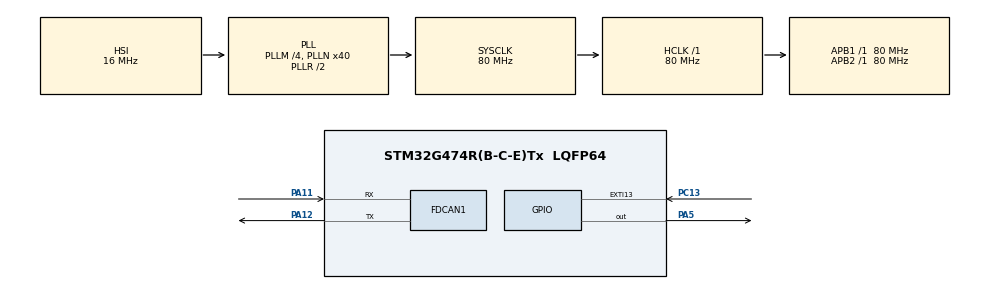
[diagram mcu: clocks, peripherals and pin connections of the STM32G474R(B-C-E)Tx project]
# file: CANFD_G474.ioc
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FDCAN1.CalculateBaudRateNominal=500000
FDCAN1.CalculateTimeBitNominal=2000
FDCAN1.CalculateTimeQuantumNominal=400.0
FDCAN1.ClockDivider=FDCAN_CLOCK_DIV2
FDCAN1.FrameFormat=FDCAN_FRAME_CLASSIC
Mcu.Family=STM32G4
Mcu.Name=STM32G474R(B-C-E)Tx
Mcu.Package=LQFP64
NUCLEO-G474RE.BUTTON=1
NUCLEO-G474RE.LD2=true
NUCLEO-G474RE.VCP=true
NVIC.EXTI15_10_IRQn=true\:0\:0\:false\:false\:true\:true\:true\:true
NVIC.FDCAN1_IT0_IRQn=true\:0\:0\:false\:false\:true\:true\:true\:true
NVIC.FDCAN1_IT1_IRQn=true\:0\:0\:false\:false\:true\:true\:true\:true
NVIC.PriorityGroup=NVIC_PRIORITYGROUP_4
PA11.Mode=FDCAN_Activate
PA11.Signal=FDCAN1_RX
PA12.Mode=FDCAN_Activate
PA12.Signal=FDCAN1_TX
PA13.GPIO_Label=T_SWDIO
PA13.Signal=SYS_JTMS-SWDIO
PA14.GPIO_Label=T_SWCLK
PA14.Signal=SYS_JTCK-SWCLK
PA2.Signal=LPUART1_TX
PA3.Signal=LPUART1_RX
PA5.Signal=GPIO_Output
PB3.GPIO_Label=T_SWO
PB3.Signal=SYS_JTDO-SWO
PC13.Signal=GPXTI13
PC14-OSC32_IN.GPIO_Label=RCC_OSC32_IN
PC14-OSC32_IN.Signal=RCC_OSC32_IN
PC15-OSC32_OUT.GPIO_Label=RCC_OSC32_OUT
PC15-OSC32_OUT.Signal=RCC_OSC32_OUT
PF0-OSC_IN.GPIO_Label=RCC_OSC_IN
PF0-OSC_IN.Signal=RCC_OSC_IN
PF1-OSC_OUT.GPIO_Label=RCC_OSC_OUT
PF1-OSC_OUT.Signal=RCC_OSC_OUT
ProjectManager.HeapSize=0x200
ProjectManager.StackSize=0x400
ProjectManager.TargetToolchain=STM32CubeIDE
RCC.ADC12Freq_Value=80000000
RCC.ADC345Freq_Value=80000000
RCC.AHBFreq_Value=80000000
RCC.APB1Freq_Value=80000000
RCC.APB1TimFreq_Value=80000000
RCC.APB2Freq_Value=80000000
RCC.APB2TimFreq_Value=80000000
RCC.CortexFreq_Value=80000000
RCC.EXTERNAL_CLOCK_VALUE=12288000
RCC.HCLKFreq_Value=80000000
RCC.HSE_VALUE=24000000
RCC.HSI48_VALUE=48000000
RCC.HSI_VALUE=16000000
RCC.LSE_VALUE=32768
RCC.PLLM=RCC_PLLM_DIV4
RCC.PLLN=40
RCC.RTCClockSelection=RCC_RTCCLKSOURCE_LSE
RCC.SYSCLKFreq_VALUE=80000000
RCC.SYSCLKSource=RCC_SYSCLKSOURCE_PLLCLK
RCC.USBFreq_Value=80000000
RCC.VCOOutputFreq_Value=160000000
VP_NUCLEO-G474RE_VS_BSP_COMMON.Mode=COMMON
VP_SYS_VS_DBSignals.Mode=DisableDeadBatterySignals
board=NUCLEO-G474RE

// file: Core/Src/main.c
/* USER CODE BEGIN Header */
/**
  ******************************************************************************
  * @file           : main.c
  * @brief          : Main program body
  ******************************************************************************
  * @attention
  *
  * Copyright (c) 2024 STMicroelectronics.
  * All rights reserved.
  *
  * This software is licensed under terms that can be found in the LICENSE file
  * in the root directory of this software component.
  * If no LICENSE file comes with this software, it is provided AS-IS.
  *
  ******************************************************************************
  */
/* USER CODE END Header */
#include "main.h"

/* USER CODE BEGIN PM */
// https://www.youtube.com/watch?v=0kdVU1ENVyw
/* USER CODE END PM */

COM_InitTypeDef BspCOMInit;
FDCAN_HandleTypeDef hfdcan1;

void SystemClock_Config(void);
static void MX_GPIO_Init(void);
static void MX_FDCAN1_Init(void);

/* USER CODE BEGIN 0 */
FDCAN_TxHeaderTypeDef TxHeader;
FDCAN_RxHeaderTypeDef RxHeader;
uint8_t TxData[12];
uint8_t RxData[12];
int indx = 0;

// FDCAN1 Callback
void HAL_FDCAN_RxFifo0Callback(FDCAN_HandleTypeDef *hfdcan, uint32_t RxFifo0ITs)
{
    if ((RxFifo0ITs & FDCAN_IT_RX_FIFO0_NEW_MESSAGE) != RESET)
    {
        if (HAL_FDCAN_GetRxMessage(hfdcan, FDCAN_RX_FIFO0, &RxHeader, RxData) != HAL_OK)
        {
            Error_Handler();
        }

        if (HAL_FDCAN_ActivateNotification(hfdcan, FDCAN_IT_RX_FIFO0_NEW_MESSAGE, 0) != HAL_OK)
        {
            Error_Handler();
        }
    }
}

//https://www.youtube.com/watch?v=sY1ie-CnOR0
// 11:46
/* USER CODE END 0 */

int main(void)
{

  /* MCU Configuration--------------------------------------------------------*/

  /* Reset of all peripherals, Initializes the Flash interface and the Systick. */
  HAL_Init();
  uint64_t *x = (uint64_t *) &TxData[0];

  /* Configure the system clock */
  SystemClock_Config();

  /* Initialize all configured peripherals */
  MX_GPIO_Init();
  MX_FDCAN1_Init();
  /* USER CODE BEGIN 2 */
// Start FDCAN1
  if (HAL_FDCAN_Start(&hfdcan1) != HAL_OK)
  {
	  Error_Handler();
  }

  if (HAL_FDCAN_ActivateNotification(&hfdcan1, FDCAN_IT_RX_FIFO0_NEW_MESSAGE, 0) != HAL_OK)
  {
	  /* Notification Error */
	  Error_Handler();
  }

  // Configure TX Header for FDCAN1
  TxHeader.Identifier = 0x11;
  TxHeader.IdType = FDCAN_STANDARD_ID;
  TxHeader.TxFrameType = FDCAN_DATA_FRAME;
  TxHeader.DataLength = FDCAN_DLC_BYTES_8;
  TxHeader.ErrorStateIndicator = FDCAN_ESI_ACTIVE;
  TxHeader.BitRateSwitch = FDCAN_BRS_OFF;
  TxHeader.FDFormat = FDCAN_FD_CAN;
  TxHeader.TxEventFifoControl = FDCAN_NO_TX_EVENTS;
  TxHeader.MessageMarker = 0;

  /* USER CODE END 2 */

  /* Initialize led */
  BSP_LED_Init(LED_GREEN);

  /* Initialize USER push-button, will be used to trigger an interrupt each time it's pressed.*/
  BSP_PB_Init(BUTTON_USER, BUTTON_MODE_EXTI);

  /* Initialize COM1 port (115200, 8 bits (7-bit data + 1 stop bit), no parity */
  BspCOMInit.BaudRate   = 115200;
  BspCOMInit.WordLength = COM_WORDLENGTH_8B;
  BspCOMInit.StopBits   = COM_STOPBITS_1;
  BspCOMInit.Parity     = COM_PARITY_NONE;
  BspCOMInit.HwFlowCtl  = COM_HWCONTROL_NONE;
  if (BSP_COM_Init(COM1, &BspCOMInit) != BSP_ERROR_NONE)
  {
    Error_Handler();
  }

  for (uint8_t i = 0; i < 8; i++) TxData[i] = 0;
  /* Infinite loop */
  while (1)
  {

    /* USER CODE BEGIN 3 */
      //sprintf((char*) TxData, "FDCAN1TX %d", indx++);
      if (HAL_FDCAN_AddMessageToTxFifoQ(&hfdcan1, &TxHeader, TxData) != HAL_OK)
      {
    	  Error_Handler();
      }
      (*x)++;
      BSP_LED_Toggle(LED_GREEN);
      HAL_Delay(100);
  }
  /* USER CODE END 3 */
}

void SystemClock_Config(void)
{
  RCC_OscInitTypeDef RCC_OscInitStruct = {0};
  RCC_ClkInitTypeDef RCC_ClkInitStruct = {0};

  /** Configure the main internal regulator output voltage
  */
  HAL_PWREx_ControlVoltageScaling(PWR_REGULATOR_VOLTAGE_SCALE1);

  /** Initializes the RCC Oscillators according to the specified parameters
  * in the RCC_OscInitTypeDef structure.
  */
  RCC_OscInitStruct.OscillatorType = RCC_OSCILLATORTYPE_HSI;
  RCC_OscInitStruct.HSIState = RCC_HSI_ON;
  RCC_OscInitStruct.HSICalibrationValue = RCC_HSICALIBRATION_DEFAULT;
  RCC_OscInitStruct.PLL.PLLState = RCC_PLL_ON;
  RCC_OscInitStruct.PLL.PLLSource = RCC_PLLSOURCE_HSI;
  RCC_OscInitStruct.PLL.PLLM = RCC_PLLM_DIV4;
  RCC_OscInitStruct.PLL.PLLN = 40;
  RCC_OscInitStruct.PLL.PLLP = RCC_PLLP_DIV2;
  RCC_OscInitStruct.PLL.PLLQ = RCC_PLLQ_DIV2;
  RCC_OscInitStruct.PLL.PLLR = RCC_PLLR_DIV2;
  if (HAL_RCC_OscConfig(&RCC_OscInitStruct) != HAL_OK)
  {
    Error_Handler();
  }

  /** Initializes the CPU, AHB and APB buses clocks
  */
  RCC_ClkInitStruct.ClockType = RCC_CLOCKTYPE_HCLK|RCC_CLOCKTYPE_SYSCLK
                              |RCC_CLOCKTYPE_PCLK1|RCC_CLOCKTYPE_PCLK2;
  RCC_ClkInitStruct.SYSCLKSource = RCC_SYSCLKSOURCE_PLLCLK;
  RCC_ClkInitStruct.AHBCLKDivider = RCC_SYSCLK_DIV1;
  RCC_ClkInitStruct.APB1CLKDivider = RCC_HCLK_DIV1;
  RCC_ClkInitStruct.APB2CLKDivider = RCC_HCLK_DIV1;

  if (HAL_RCC_ClockConfig(&RCC_ClkInitStruct, FLASH_LATENCY_2) != HAL_OK)
  {
    Error_Handler();
  }
}

static void MX_FDCAN1_Init(void)
{

  hfdcan1.Instance = FDCAN1;
  hfdcan1.Init.ClockDivider = FDCAN_CLOCK_DIV2;
  hfdcan1.Init.FrameFormat = FDCAN_FRAME_CLASSIC;
  hfdcan1.Init.Mode = FDCAN_MODE_NORMAL;
  hfdcan1.Init.AutoRetransmission = DISABLE;
  hfdcan1.Init.TransmitPause = DISABLE;
  hfdcan1.Init.ProtocolException = DISABLE;
  hfdcan1.Init.NominalPrescaler = 16;
  hfdcan1.Init.NominalSyncJumpWidth = 1;
  hfdcan1.Init.NominalTimeSeg1 = 2;
  hfdcan1.Init.NominalTimeSeg2 = 2;
  hfdcan1.Init.DataPrescaler = 1;
  hfdcan1.Init.DataSyncJumpWidth = 1;
  hfdcan1.Init.DataTimeSeg1 = 1;
  hfdcan1.Init.DataTimeSeg2 = 1;
  hfdcan1.Init.StdFiltersNbr = 0;
  hfdcan1.Init.ExtFiltersNbr = 0;
  hfdcan1.Init.TxFifoQueueMode = FDCAN_TX_FIFO_OPERATION;
  if (HAL_FDCAN_Init(&hfdcan1) != HAL_OK)
  {
    Error_Handler();
  }
  /* USER CODE BEGIN FDCAN1_Init 2 */
  FDCAN_FilterTypeDef canfilterConfig;
  canfilterConfig.IdType = FDCAN_STANDARD_ID;
  canfilterConfig.FilterIndex = 0;
  canfilterConfig.FilterType = FDCAN_FILTER_MASK;
  canfilterConfig.FilterConfig = FDCAN_FILTER_TO_RXFIFO0;
  canfilterConfig.FilterID1 = 11;
  canfilterConfig.FilterID2 = 11;
  if ((HAL_FDCAN_ConfigFilter(&hfdcan1, &canfilterConfig)) != HAL_OK)
  {

  }

  /* USER CODE END FDCAN1_Init 2 */

}

static void MX_GPIO_Init(void)
{

  /* GPIO Ports Clock Enable */
  __HAL_RCC_GPIOC_CLK_ENABLE();
  __HAL_RCC_GPIOF_CLK_ENABLE();
  __HAL_RCC_GPIOA_CLK_ENABLE();
  __HAL_RCC_GPIOB_CLK_ENABLE();

}

void Error_Handler(void)
{
  __disable_irq();
  while (1)
  {
  }
}
